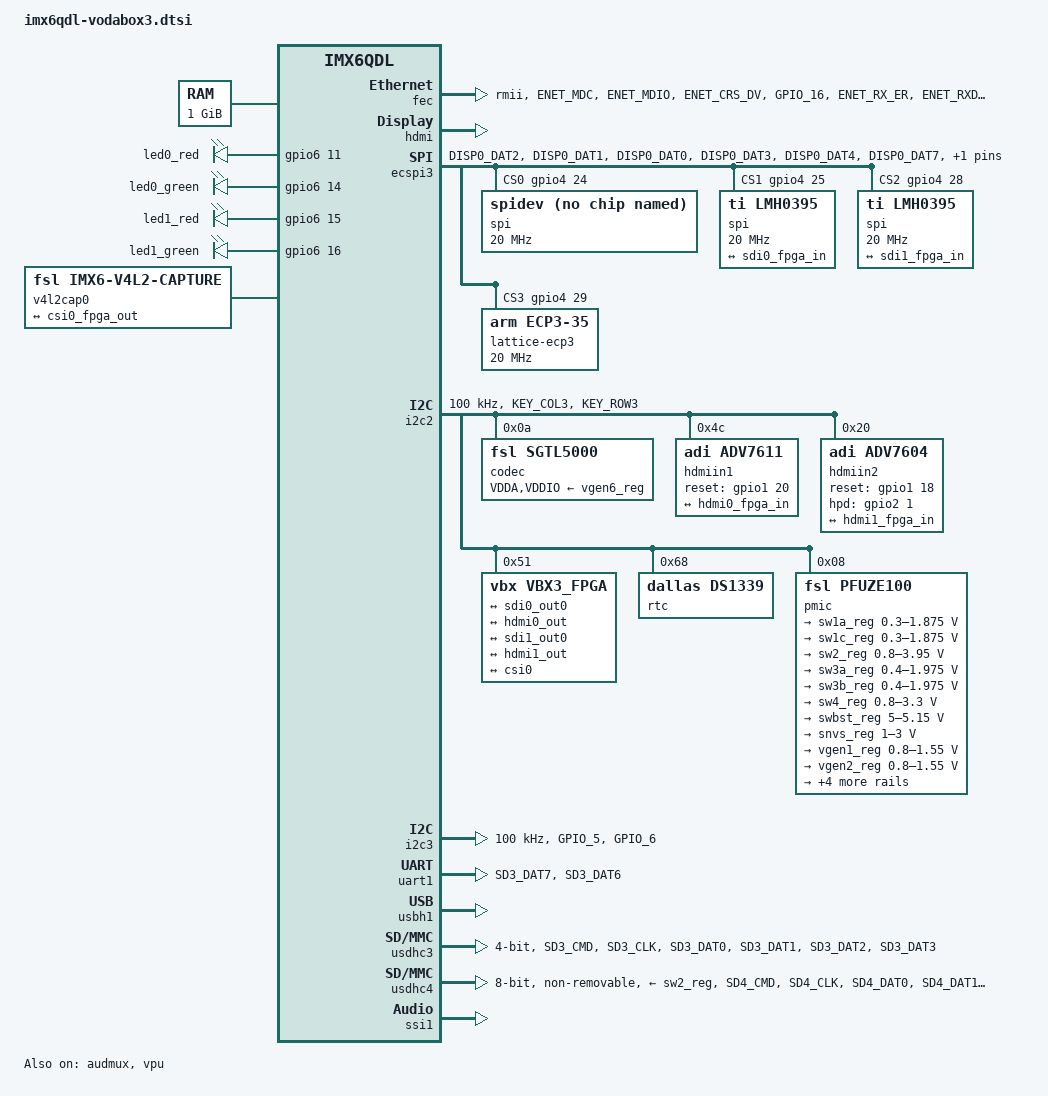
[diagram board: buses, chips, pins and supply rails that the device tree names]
/*
 * Copyright 2014 Vodalys
 *
 * The code contained herein is licensed under the GNU General Public
 * License. You may obtain a copy of the GNU General Public License
 * Version 2 or later at the following locations:
 *
 * http://www.opensource.org/licenses/gpl-license.html
 * http://www.gnu.org/copyleft/gpl.html
 */

/ {

	/* these are used by bootloader for disabling nodes */
	aliases {
		usdhc2 = &usdhc3;
	};

	chosen {
		bootargs = "console=ttymxc1,115200";
	};

	memory {
		reg = <0x10000000 0x40000000>;
	};

	leds {
		compatible = "gpio-leds";

		led0_red {
			gpios = <&gpio6 11 0>;
			default-state = "off";
        };
		led0_green {
			gpios = <&gpio6 14 0>;
			default-state = "on";
        };
		led1_red {
			gpios = <&gpio6 15 0>;
			default-state = "off";
		};
		led1_green {
			gpios = <&gpio6 16 0>;
			default-state = "on";
		};
	};

	sound {
		compatible = "fsl,imx6q-vbx3-sgtl5000",
			     "fsl,imx-audio-sgtl5000";
		model = "imx6q-vbx3-sgtl5000";
		ssi-controller = <&ssi1>;
		audio-codec = <&codec>;
		audio-routing =
			"LINE_IN", "Line In Jack";
		mux-int-port = <1>;
		mux-ext-port = <5>;
	};

	v4l2cap0: v4l2cap@ipu1 {
		compatible = "fsl,imx6-v4l2-capture";
		#address-cells = <1>;
		#size-cells = <0>;
		ipu = <&ipu1>;
		pinctrl-names = "default";
		pinctrl-0 = <&pinctrl_ipu1_csi0>;
		status = "okay";

		/* CSI0 */
		port@0 {
			#address-cells = <1>;
			#size-cells = <0>;
			reg = <0>;
			/* Parallel bus */
			csi0: endpoint@0 {
				reg = <0>;
				//remote-endpoint = <&hdmi0_out>;
				remote-endpoint = <&csi0_fpga_out>;
				bus-width = <16>;
				//data-shift = <4>; /* Lines 19:4 used */
			};
		};
	};
};

&audmux {
	pinctrl-names = "default";
	pinctrl-0 = <&pinctrl_audmux>;
	status = "okay";
};

&fec {
	pinctrl-names = "default";
	pinctrl-0 = <&pinctrl_fec>;
	phy-mode = "rmii";
	phy-reset-gpios = <&gpio1 30 0>;
	status = "okay";
};

&hdmi {
	ddc-i2c-bus = <&i2c2>;
	status = "okay";
};

&ecspi3 {
	fsl,spi-num-chipselects = <4>;
	cs-gpios = <&gpio4 24 0>,<&gpio4 25 0>,<&gpio4 28 0>,<&gpio4 29 0>;
	pinctrl-names = "default";
	pinctrl-0 = <&pinctrl_ecspi3>;
	status = "okay";

	spi@0 { /* CDCM6208 */
		compatible = "spidev";
		reg = <0>;
		spi-max-frequency = <20000000>;
	};
	spi@1 {
		compatible = "ti,lmh0395";
		reg = <1>;
		spi-max-frequency = <20000000>;
		ports {
			#address-cells = <1>;
			#size-cells = <0>;
			port@0 {
				reg = <0>;
			};
			port@1 {
				reg = <1>;
				sdi0_out0: endpoint {
					remote-endpoint = <&sdi0_fpga_in>;
				};
			};
			port@2 {
				reg = <2>;
			};
		};
	};
	spi@2 {
		compatible = "ti,lmh0395";
		reg = <2>;
		spi-max-frequency = <20000000>;
		ports {
			#address-cells = <1>;
			#size-cells = <0>;
			port@0 {
				reg = <0>;
			};
			port@1 {
				reg = <1>;
				sdi1_out0: endpoint {
					remote-endpoint = <&sdi1_fpga_in>;
				};
			};
			port@2 {
				reg = <2>;
				/* Output disabled */
			};
		};
	};
	lattice-ecp3@3 { /* FPGA */
		compatible = "arm,ecp3-35";
		reg = <3>;
		spi-max-frequency = <20000000>;
	};
};

&i2c2 {
	clock-frequency = <100000>;
	pinctrl-names = "default";
	pinctrl-0 = <&pinctrl_i2c2>;
	status = "okay";

	codec: sgtl5000@0a {
		compatible = "fsl,sgtl5000";
		reg = <0x0a>;
		clocks = <&clks 201>;
		VDDA-supply = <&vgen6_reg>;
		VDDIO-supply = <&vgen6_reg>;
		sysclk = <24000000>;
	};

	hdmiin1: adv7611@4c {
		compatible = "adi,adv7611";
		reset-gpios = <&gpio1 20 0>;
		reg = <0x4c 0x68 0x66 0x64 0x62
			0x60 0x5e 0x5c 0x5a 0x58 0x56
			0x54 0x52>;
		reg-names = "main", "avlink", "cec", "infoframe", "esdp",
				"dpp", "afe", "rep", "edid", "hdmi", "test",
				"cp", "vdp";
		ports {
			#address-cells = <1>;
			#size-cells = <0>;
			port@0 {
				reg = <0>;
			};
			port@1 {
				reg = <1>;
				hdmi0_out: endpoint@1 {
					remote-endpoint = <&hdmi0_fpga_in>;
					//remote-endpoint = <&csi0>;
					bus-width = <16>;
				};
			};
		};
	};

	hdmiin2: adv7604@20 {
		compatible = "adi,adv7604";
		reset-gpios = <&gpio1 18 0>;
		reg = <0x20>;
		hpd-gpios = <&gpio2 1 0>;

		ports {
			#address-cells = <1>;
			#size-cells = <0>;
			port@0 {
				reg = <0>;
			};
			port@1 {
				reg = <1>;
			};
			port@2 {
				reg = <2>;
			};
			port@3 {
				reg = <3>;
			};
			port@4 {
				reg = <4>;
			};
			port@5 {
				reg = <5>;
			};
			port@6 {
				reg = <6>;
				hdmi1_out: endpoint@6 {
					remote-endpoint = <&hdmi1_fpga_in>;
				};
			};
		};
	};

	vbx3_fpga@51 {
		compatible = "vbx,vbx3_fpga";
		reg = <0x51>;
		ports {
			#address-cells = <1>;
			#size-cells = <0>;
			port@0 {
				reg = <0>;
				sdi0_fpga_in: endpoint {
					remote-endpoint = <&sdi0_out0>;
				};
			};
			port@1 {
				reg = <1>;
				hdmi0_fpga_in: endpoint {
					remote-endpoint = <&hdmi0_out>;
				};
			};
			port@2 {
				reg = <2>;
				sdi1_fpga_in: endpoint {
					remote-endpoint = <&sdi1_out0>;
				};
			};
			port@3 {
				reg = <3>;
				hdmi1_fpga_in: endpoint {
					remote-endpoint = <&hdmi1_out>;
				};
			};
			port@4 {
				reg = <4>;
				csi0_fpga_out: endpoint {
					bus-width = <16>;
					remote-endpoint = <&csi0>;
				};
			};
/*			port@5 {
				reg = <5>;
				csi1_fpga_out: endpoint {
					bus-width = <16>;
					remote-endpoint = <&csi1>;
				};
			};*/
		};
	};

	rtc@68 {
		compatible = "dallas,ds1339";
		reg = <0x68>;
	};

	pmic: pfuze100@08 {
		compatible = "fsl,pfuze100";
		reg = <0x08>;

		regulators {
			sw1a_reg: sw1ab {
				regulator-min-microvolt = <300000>;
				regulator-max-microvolt = <1875000>;
				regulator-boot-on;
				regulator-always-on;
				regulator-ramp-delay = <6250>;
			};

			sw1c_reg: sw1c {
				regulator-min-microvolt = <300000>;
				regulator-max-microvolt = <1875000>;
				regulator-boot-on;
				regulator-always-on;
				regulator-ramp-delay = <6250>;
			};

			sw2_reg: sw2 {
				regulator-min-microvolt = <800000>;
				regulator-max-microvolt = <3950000>;
				regulator-boot-on;
				regulator-always-on;
			};

			sw3a_reg: sw3a {
				regulator-min-microvolt = <400000>;
				regulator-max-microvolt = <1975000>;
				regulator-boot-on;
				regulator-always-on;
			};

			sw3b_reg: sw3b {
				regulator-min-microvolt = <400000>;
				regulator-max-microvolt = <1975000>;
				regulator-boot-on;
				regulator-always-on;
			};

			sw4_reg: sw4 {
				regulator-min-microvolt = <800000>;
				regulator-max-microvolt = <3300000>;
			};

			swbst_reg: swbst {
				regulator-min-microvolt = <5000000>;
				regulator-max-microvolt = <5150000>;
			};

			snvs_reg: vsnvs {
				regulator-min-microvolt = <1000000>;
				regulator-max-microvolt = <3000000>;
				regulator-boot-on;
				regulator-always-on;
			};

			vref_reg: vrefddr {
				regulator-boot-on;
				regulator-always-on;
			};

			vgen1_reg: vgen1 {
				regulator-min-microvolt = <800000>;
				regulator-max-microvolt = <1550000>;
			};

			vgen2_reg: vgen2 {
				regulator-min-microvolt = <800000>;
				regulator-max-microvolt = <1550000>;
			};

			vgen3_reg: vgen3 {
				regulator-min-microvolt = <1800000>;
				regulator-max-microvolt = <3300000>;
			};

			vgen4_reg: vgen4 {
				regulator-min-microvolt = <1800000>;
				regulator-max-microvolt = <3300000>;
				regulator-always-on;
			};

			vgen5_reg: vgen5 {
				regulator-min-microvolt = <1800000>;
				regulator-max-microvolt = <3300000>;
				regulator-always-on;
			};

			vgen6_reg: vgen6 {
				regulator-min-microvolt = <1800000>;
				regulator-max-microvolt = <3300000>;
				regulator-always-on;
			};
		};
	};
};

&i2c3 {
	clock-frequency = <100000>;
	pinctrl-names = "default";
	pinctrl-0 = <&pinctrl_i2c3_vbx>;
	status = "okay";
};

&iomuxc {
	pinctrl-names = "default";
	pinctrl-0 = <&pinctrl_hog>;

	imx6qdl-vodabox3 {
		pinctrl_hog: hoggrp {
			fsl,pins = <
				MX6QDL_PAD_GPIO_0__CCM_CLKO1		0x000b0		/* SGTL5000 sys_mclk */
				MX6QDL_PAD_NANDF_D1__GPIO2_IO01		0x1b800		/* ADV7604 Hotplug */
				MX6QDL_PAD_SD1_CLK__GPIO1_IO20		0x1b0b0		/* ADV7611 reset */
				MX6QDL_PAD_SD1_CMD__GPIO1_IO18		0x1b0b0		/* ADV7604 reset */
			>;
		};

		pinctrl_fec: fecgrp-1 {
			fsl,pins = <
				MX6QDL_PAD_ENET_MDC__ENET_MDC         0x1b0b0
				MX6QDL_PAD_ENET_MDIO__ENET_MDIO       0x1b0b0
				MX6QDL_PAD_ENET_CRS_DV__ENET_RX_EN		0x1b0b0
				MX6QDL_PAD_GPIO_16__ENET_REF_CLK			0x4001b0a8
				MX6QDL_PAD_ENET_RX_ER__ENET_RX_ER			0x1b0b0
				MX6QDL_PAD_ENET_RXD0__ENET_RX_DATA0   0x1b0b0
				MX6QDL_PAD_ENET_RXD1__ENET_RX_DATA1   0x1b0b0
				MX6QDL_PAD_ENET_TX_EN__ENET_TX_EN     0x1b0b0
				MX6QDL_PAD_ENET_TXD0__ENET_TX_DATA0   0x1b0b0
				MX6QDL_PAD_ENET_TXD1__ENET_TX_DATA1   0x1b0b0
			>;
		};


		pinctrl_uart1: uart1grp-1 {
			fsl,pins = <
				MX6QDL_PAD_SD3_DAT7__UART1_TX_DATA 0x1b0b1
				MX6QDL_PAD_SD3_DAT6__UART1_RX_DATA 0x1b0b1
			>;
		};

		pinctrl_i2c2: i2c2grp {
			fsl,pins = <
				MX6QDL_PAD_KEY_COL3__I2C2_SCL		0x4001b8b1
				MX6QDL_PAD_KEY_ROW3__I2C2_SDA		0x4001b8b1
			>;
		};

		pinctrl_i2c3_vbx: i2c3grp-1 {
			fsl,pins = <
				MX6QDL_PAD_GPIO_5__I2C3_SCL 0x4001b8b1
				MX6QDL_PAD_GPIO_6__I2C3_SDA 0x4001b8b1
			>;
		};

		pinctrl_usdhc3: usdhc3grp {
			fsl,pins = <
				MX6QDL_PAD_SD3_CMD__SD3_CMD		0x17059
				MX6QDL_PAD_SD3_CLK__SD3_CLK		0x10059
				MX6QDL_PAD_SD3_DAT0__SD3_DATA0		0x17059
				MX6QDL_PAD_SD3_DAT1__SD3_DATA1		0x17059
				MX6QDL_PAD_SD3_DAT2__SD3_DATA2		0x17059
				MX6QDL_PAD_SD3_DAT3__SD3_DATA3		0x17059
			>;
		};

		pinctrl_usdhc4: usdhc4grp {
			fsl,pins = <
				MX6QDL_PAD_SD4_CMD__SD4_CMD		0x17059
				MX6QDL_PAD_SD4_CLK__SD4_CLK		0x10059
				MX6QDL_PAD_SD4_DAT0__SD4_DATA0		0x17059
				MX6QDL_PAD_SD4_DAT1__SD4_DATA1		0x17059
				MX6QDL_PAD_SD4_DAT2__SD4_DATA2		0x17059
				MX6QDL_PAD_SD4_DAT3__SD4_DATA3		0x17059
				MX6QDL_PAD_SD4_DAT4__SD4_DATA4		0x17059
				MX6QDL_PAD_SD4_DAT5__SD4_DATA5		0x17059
				MX6QDL_PAD_SD4_DAT6__SD4_DATA6		0x17059
				MX6QDL_PAD_SD4_DAT7__SD4_DATA7		0x17059
			>;
		};

		pinctrl_ecspi3: ecspi3grp {
			fsl,pins = <
				MX6QDL_PAD_DISP0_DAT2__ECSPI3_MISO	0x100b1
				MX6QDL_PAD_DISP0_DAT1__ECSPI3_MOSI	0x100b1
				MX6QDL_PAD_DISP0_DAT0__ECSPI3_SCLK	0x100b1
				MX6QDL_PAD_DISP0_DAT3__GPIO4_IO24 0x80000000 /* CDCM6208 */
				MX6QDL_PAD_DISP0_DAT4__GPIO4_IO25 0x80000000 /* LMH0395 */
				MX6QDL_PAD_DISP0_DAT7__GPIO4_IO28 0x80000000 /* LMH0395 */
				MX6QDL_PAD_DISP0_DAT8__GPIO4_IO29 0x80000000 /* FPGA */
			>;
		};

		pinctrl_audmux: audmuxgrp {
			fsl,pins = <
				MX6QDL_PAD_DISP0_DAT13__AUD5_RXFS		0x130b0
				MX6QDL_PAD_DISP0_DAT14__AUD5_RXC		0x130b0
				MX6QDL_PAD_DISP0_DAT19__AUD5_RXD		0x130b0
			>;
		};

		pinctrl_ipu1_csi0: ipu1_csi0grp {
			fsl,pins = <
				/*MX6QDL_PAD_EIM_D27__IPU1_CSI0_DATA00 0x80000000
				MX6QDL_PAD_EIM_D26__IPU1_CSI0_DATA01 0x80000000*/
				MX6QDL_PAD_EIM_D31__IPU1_CSI0_DATA02 0x80000000
				MX6QDL_PAD_EIM_D30__IPU1_CSI0_DATA03 0x80000000
				MX6QDL_PAD_CSI0_DAT4__IPU1_CSI0_DATA04 0x80000000
				MX6QDL_PAD_CSI0_DAT5__IPU1_CSI0_DATA05 0x80000000
				MX6QDL_PAD_CSI0_DAT6__IPU1_CSI0_DATA06 0x80000000
				MX6QDL_PAD_CSI0_DAT7__IPU1_CSI0_DATA07 0x80000000
				MX6QDL_PAD_CSI0_DAT8__IPU1_CSI0_DATA08 0x80000000
				MX6QDL_PAD_CSI0_DAT9__IPU1_CSI0_DATA09 0x80000000
				/*MX6QDL_PAD_CSI0_DAT10__IPU1_CSI0_DATA10 0x80000000
				MX6QDL_PAD_CSI0_DAT11__IPU1_CSI0_DATA11 0x80000000*/
				MX6QDL_PAD_CSI0_DAT12__IPU1_CSI0_DATA12 0x80000000
				MX6QDL_PAD_CSI0_DAT13__IPU1_CSI0_DATA13 0x80000000
				MX6QDL_PAD_CSI0_DAT14__IPU1_CSI0_DATA14 0x80000000
				MX6QDL_PAD_CSI0_DAT15__IPU1_CSI0_DATA15 0x80000000
				MX6QDL_PAD_CSI0_DAT16__IPU1_CSI0_DATA16 0x80000000
				MX6QDL_PAD_CSI0_DAT17__IPU1_CSI0_DATA17 0x80000000
				MX6QDL_PAD_CSI0_DAT18__IPU1_CSI0_DATA18 0x80000000
				MX6QDL_PAD_CSI0_DAT19__IPU1_CSI0_DATA19 0x80000000
				/* Clock and Data only : BT.656 mode */
				MX6QDL_PAD_CSI0_PIXCLK__IPU1_CSI0_PIXCLK 0x80000000
				/*MX6QDL_PAD_CSI0_MCLK__IPU1_CSI0_HSYNC 0x80000000
				MX6QDL_PAD_CSI0_VSYNC__IPU1_CSI0_VSYNC 0x80000000
				MX6QDL_PAD_CSI0_DATA_EN__IPU1_CSI0_DATA_EN 0x80000000*/
			>;
		};
	};
};


&uart1 {
	pinctrl-names = "default";
	pinctrl-0 = <&pinctrl_uart1>;
	status = "okay";
};

&usbh1 {
	status = "okay";
};

&usdhc3 {
	pinctrl-names = "default";
	pinctrl-0 = <&pinctrl_usdhc3>;
	bus-width = <4>;
	keep-power-in-suspend;
	enable-sdio-wakeup;
	status = "okay";
};

&usdhc4 {
	pinctrl-names = "default";
	pinctrl-0 = <&pinctrl_usdhc4>;
	bus-width = <8>;
	non-removable;
	no-1-8-v;
	vmmc-supply = <&sw2_reg>;
	status = "okay";
};

&fec {
	pinctrl-names = "default";
	pinctrl-0 = <&pinctrl_fec>;
	phy-mode = "rmii";
	phy-reset-gpios = <&gpio1 30 0>;
	status = "okay";
};

&hdmi {
	ddc-i2c-bus = <&i2c2>;
	status = "okay";
};

&ssi1 {
	status = "okay";
	fsl,mode = "i2s-master";
	fsl,ssi-asynchronous;
};

&vpu {
	compatible = "fsl,imx6q-vpu";
	clocks = <&clks 168>, <&clks 140>, <&clks 142>;
	clock-names = "per", "ahb", "ocram";
	iramsize = <0x21000>;
	iram = <&ocram>;
	resets = <&src 1>;
	status = "okay";
	pu-supply = <&reg_pu>; /* ldo-bypass:use pu_dummy if VDDSOC share with VDDPU */
};
